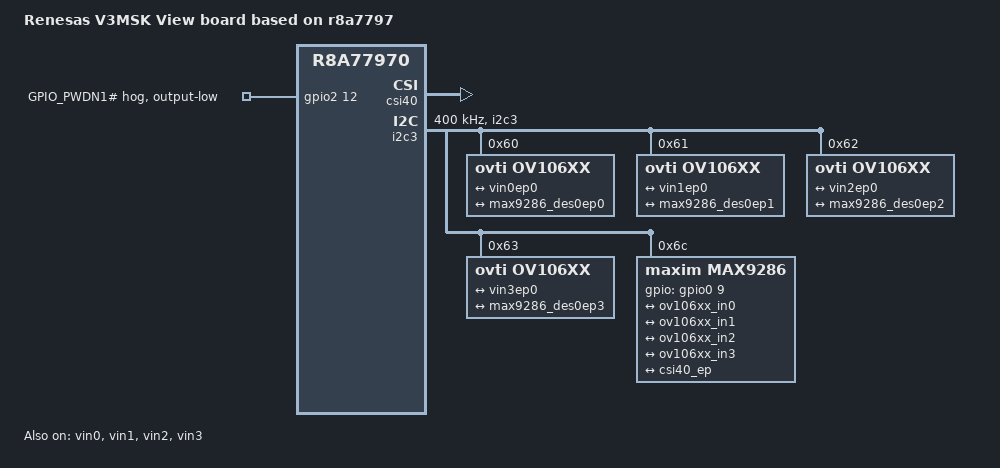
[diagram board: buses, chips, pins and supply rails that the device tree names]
/*
 * Device Tree Source for the V3MSK View board on r8a7797
 *
 * Copyright (C) 2017 Cogent Embedded, Inc.
 *
 * This file is licensed under the terms of the GNU General Public License
 * version 2.  This program is licensed "as is" without any warranty of any
 * kind, whether express or implied.
 */

#include "r8a77970-v3msk.dts"
#include <dt-bindings/gpio/gpio.h>

/ {
	model = "Renesas V3MSK View board based on r8a7797";
};

&csi40 {
	status = "okay";

	virtual,channel {
		csi2_vc0 {
			data,type = "ycbcr422";
			receive,vc = <0>;
		};
		csi2_vc1 {
			data,type = "ycbcr422";
			receive,vc = <1>;
		};
		csi2_vc2 {
			data,type = "ycbcr422";
			receive,vc = <2>;
		};
		csi2_vc3 {
			data,type = "ycbcr422";
			receive,vc = <3>;
		};
	};

	port {
		#address-cells = <1>;
		#size-cells = <0>;

		csi40_ep: endpoint {
			clock-lanes = <0>;
			data-lanes = <1 2 3 4>;
			csi-rate = <300>;
		};
	};
};

&i2c3 {
	pinctrl-0 = <&i2c3_pins>;
	pinctrl-names = "default";
	status = "okay";

	clock-frequency = <400000>;

	ov106xx@0 {
		compatible = "ovti,ov106xx";
		reg = <0x60>;

		port@0 {
			ov106xx_in0: endpoint {
				clock-lanes = <0>;
				data-lanes = <1 2 3 4>;
				remote-endpoint = <&vin0ep0>;
			};
		};
		port@1 {
			ov106xx_max9286_des0ep0: endpoint@0 {
				remote-endpoint = <&max9286_des0ep0>;
			};
		};
	};

	ov106xx@1 {
		compatible = "ovti,ov106xx";
		reg = <0x61>;

		port@0 {
			ov106xx_in1: endpoint {
				clock-lanes = <0>;
				data-lanes = <1 2 3 4>;
				remote-endpoint = <&vin1ep0>;
			};
		};
		port@1 {
			ov106xx_max9286_des0ep1: endpoint@0 {
				remote-endpoint = <&max9286_des0ep1>;
			};
		};
	};

	ov106xx@2 {
		compatible = "ovti,ov106xx";
		reg = <0x62>;

		port@0 {
			ov106xx_in2: endpoint {
				clock-lanes = <0>;
				data-lanes = <1 2 3 4>;
				remote-endpoint = <&vin2ep0>;
			};
		};
		port@1 {
			ov106xx_max9286_des0ep2: endpoint@0 {
				remote-endpoint = <&max9286_des0ep2>;
			};
		};
	};

	ov106xx@3 {
		compatible = "ovti,ov106xx";
		reg = <0x63>;

		port@0 {
			ov106xx_in3: endpoint {
				clock-lanes = <0>;
				data-lanes = <1 2 3 4>;
				remote-endpoint = <&vin3ep0>;
			};
		};
		port@1 {
			ov106xx_max9286_des0ep3: endpoint@0 {
				remote-endpoint = <&max9286_des0ep3>;
			};
		};
	};

	max9286@0 {
		compatible = "maxim,max9286";
		reg = <0x6c>;
		gpios = <&gpio0 9 GPIO_ACTIVE_HIGH>;
		maxim,links = <4>;
		maxim,lanes = <4>;
		maxim,resetb-gpio = <1>;
		maxim,fsync-mode = "automatic";
		maxim,timeout = <100>;

		port@0 {
			max9286_des0ep0: endpoint@0 {
				max9271-addr = <0x50>;
				dvp-order = <1>;
				remote-endpoint = <&ov106xx_in0>;
			};
			max9286_des0ep1: endpoint@1 {
				max9271-addr = <0x51>;
				dvp-order = <1>;
				remote-endpoint = <&ov106xx_in1>;
			};
			max9286_des0ep2: endpoint@2 {
				max9271-addr = <0x52>;
				dvp-order = <1>;
				remote-endpoint = <&ov106xx_in2>;
			};
			max9286_des0ep3: endpoint@3 {
				max9271-addr = <0x53>;
				dvp-order = <1>;
				remote-endpoint = <&ov106xx_in3>;
			};
		};
		port@1 {
			max9286_csi0ep0: endpoint {
				csi-rate = <700>;
				remote-endpoint = <&csi40_ep>;
			};
		};
	};
};

&gpio2 {
	gpio_pwdn1 {
		gpio-hog;
		gpios = <12 GPIO_ACTIVE_HIGH>;
		output-low;
		line-name = "GPIO_PWDN1#";
	};
};

&pfc {
	i2c3_pins: i2c3 {
		groups = "i2c3";
		function = "i2c3";
	};
};

&vin0 {
	status = "okay";

	ports {
		#address-cells = <1>;
		#size-cells = <0>;

		port@0 {
			vin0ep0: endpoint {
				csi,select = "csi40";
				virtual,channel = <0>;
				data-lanes = <1 2 3 4>;
				remote-endpoint = <&ov106xx_in0>;
			};
		};
		port@1 {
			csi0ep0: endpoint {
				remote-endpoint = <&csi40_ep>;
			};
		};
		port@2 {
			vin0_max9286_des0ep0: endpoint@0 {
				remote-endpoint = <&max9286_des0ep0>;
			};
		};
	};
};

&vin1 {
	status = "okay";

	ports {
		#address-cells = <1>;
		#size-cells = <0>;

		port@0 {
			vin1ep0: endpoint {
				csi,select = "csi40";
				virtual,channel = <1>;
				data-lanes = <1 2 3 4>;
				remote-endpoint = <&ov106xx_in1>;
			};
		};
		port@1 {
			csi0ep1: endpoint {
				remote-endpoint = <&csi40_ep>;
			};
		};
		port@2 {
			vin1_max9286_des0ep1: endpoint@0 {
				remote-endpoint = <&max9286_des0ep1>;
			};
		};
	};
};

&vin2 {
	status = "okay";

	ports {
		#address-cells = <1>;
		#size-cells = <0>;

		port@0 {
			vin2ep0: endpoint {
				csi,select = "csi40";
				virtual,channel = <2>;
				data-lanes = <1 2 3 4>;
				remote-endpoint = <&ov106xx_in2>;
			};
		};
		port@1 {
			csi0ep2: endpoint {
				remote-endpoint = <&csi40_ep>;
			};
		};
		port@2 {
			vin2_max9286_des0ep2: endpoint@0 {
				remote-endpoint = <&max9286_des0ep2>;
			};
		};
	};
};

&vin3 {
	status = "okay";

	ports {
		#address-cells = <1>;
		#size-cells = <0>;

		port@0 {
			vin3ep0: endpoint {
				csi,select = "csi40";
				virtual,channel = <3>;
				data-lanes = <1 2 3 4>;
				remote-endpoint = <&ov106xx_in3>;
			};
		};
		port@1 {
			csi0ep3: endpoint {
				remote-endpoint = <&csi40_ep>;
			};
		};
		port@2 {
			vin3_max9286_des0ep3: endpoint@0 {
				remote-endpoint = <&max9286_des0ep3>;
			};
		};
	};
};
